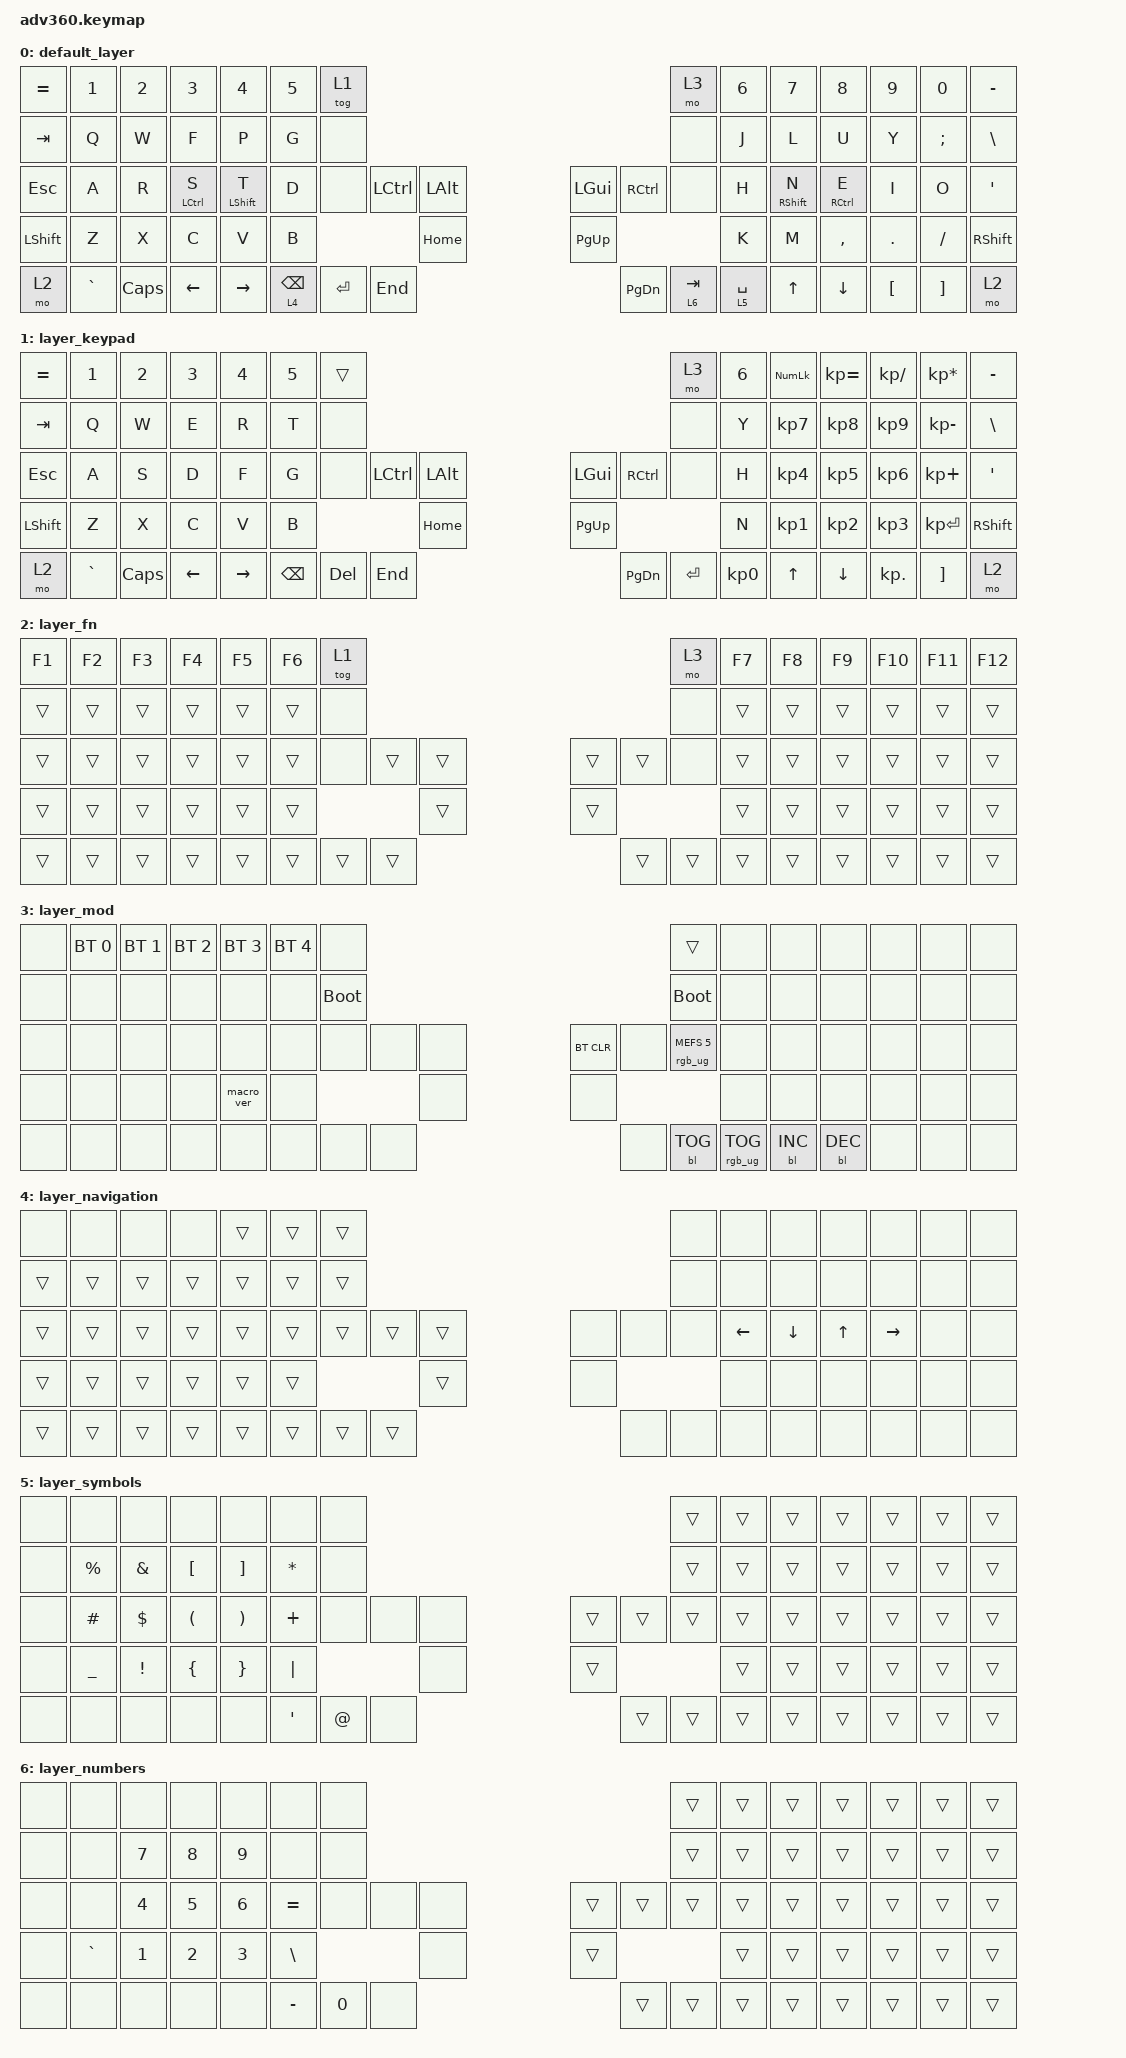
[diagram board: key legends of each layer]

/*
 * Copyright (c) 2020 The ZMK Contributors
 *
 * SPDX-License-Identifier: MIT
 */


/* THIS FILE WAS GENERATED!
 *
 * This file was generated automatically. You may or may not want to
 * edit it directly.
 */

#include <behaviors.dtsi>
#include <dt-bindings/zmk/keys.h>
#include <dt-bindings/zmk/bt.h>
#include <dt-bindings/zmk/rgb.h>
#include <dt-bindings/zmk/backlight.h>

/ {
  behaviors {
    #include "macros.dtsi"
    #include "version.dtsi"

    hm: homerow_mods {
        compatible = "zmk,behavior-hold-tap";
        label = "HOMEROW_MODS";
        #binding-cells = <2>;
        tapping-term-ms = <200>;
        quick_tap_ms = <175>;
        flavor = "tap-preferred";
        bindings = <&kp>, <&kp>;
    };
  };

    keymap {
        compatible = "zmk,keymap";


        default_layer {
            bindings = <
 &kp EQUAL     &kp N1    &kp N2       &kp N3       &kp N4  &kp N5                &tog 1                                                                   &mo 3  &kp N6       &kp N7       &kp N8    &kp N9         &kp N0  &kp MINUS
   &kp TAB      &kp Q     &kp W        &kp F        &kp P   &kp G                 &none                                                                   &none   &kp J        &kp L        &kp U     &kp Y  &kp SEMICOLON   &kp BSLH
   &kp ESC      &kp A     &kp R  &hm LCTRL S  &hm LSHFT T   &kp D                 &none  &kp LCTRL  &kp LALT                   &kp LGUI  &kp RCTRL        &none   &kp H  &hm RSHFT N  &hm RCTRL E     &kp I          &kp O    &kp SQT
 &kp LSHFT      &kp Z     &kp X        &kp C        &kp V   &kp B                                   &kp HOME                  &kp PG_UP                           &kp K        &kp M    &kp COMMA   &kp DOT       &kp FSLH  &kp RSHFT
     &mo 2  &kp GRAVE  &kp CAPS     &kp LEFT    &kp RIGHT                    &lt 4 BSPC  &kp ENTER   &kp END                  &kp PG_DN  &lt 6 TAB  &lt 5 SPACE               &kp UP     &kp DOWN  &kp LBKT       &kp RBKT      &mo 2
            >;
        };

        layer_keypad {
            bindings = <
 &kp EQUAL     &kp N1    &kp N2    &kp N3     &kp N4  &kp N5              &trans                                                                 &mo 3  &kp N6  &kp KP_NUM  &kp KP_EQUAL  &kp KP_DIVIDE  &kp KP_MULTIPLY  &kp MINUS
   &kp TAB      &kp Q     &kp W     &kp E      &kp R   &kp T               &none                                                                 &none   &kp Y   &kp KP_N7     &kp KP_N8      &kp KP_N9     &kp KP_MINUS   &kp BSLH
   &kp ESC      &kp A     &kp S     &kp D      &kp F   &kp G               &none  &kp LCTRL  &kp LALT                   &kp LGUI  &kp RCTRL      &none   &kp H   &kp KP_N4     &kp KP_N5      &kp KP_N6      &kp KP_PLUS    &kp SQT
 &kp LSHFT      &kp Z     &kp X     &kp C      &kp V   &kp B                                 &kp HOME                  &kp PG_UP                         &kp N   &kp KP_N1     &kp KP_N2      &kp KP_N3     &kp KP_ENTER  &kp RSHFT
     &mo 2  &kp GRAVE  &kp CAPS  &kp LEFT  &kp RIGHT                    &kp BSPC    &kp DEL   &kp END                  &kp PG_DN  &kp ENTER  &kp KP_N0              &kp UP      &kp DOWN     &kp KP_DOT         &kp RBKT      &mo 2
            >;
        };

        layer_fn {
            bindings = <
 &kp F1  &kp F2  &kp F3  &kp F4  &kp F5  &kp F6            &tog 1                                                   &mo 3  &kp F7  &kp F8  &kp F9  &kp F10  &kp F11  &kp F12
 &trans  &trans  &trans  &trans  &trans  &trans             &none                                                   &none  &trans  &trans  &trans   &trans   &trans   &trans
 &trans  &trans  &trans  &trans  &trans  &trans             &none  &trans  &trans                  &trans  &trans   &none  &trans  &trans  &trans   &trans   &trans   &trans
 &trans  &trans  &trans  &trans  &trans  &trans                            &trans                  &trans                  &trans  &trans  &trans   &trans   &trans   &trans
 &trans  &trans  &trans  &trans  &trans                    &trans  &trans  &trans                  &trans  &trans  &trans          &trans  &trans   &trans   &trans   &trans
            >;
        };

        layer_mod {
            bindings = <
  &none  &bt BT_SEL 0  &bt BT_SEL 1  &bt BT_SEL 2  &bt BT_SEL 3  &bt BT_SEL 4                  &none                                                                          &trans   &none       &none       &none   &none   &none   &none
  &none         &none         &none         &none         &none         &none            &bootloader                                                                     &bootloader   &none       &none       &none   &none   &none   &none
  &none         &none         &none         &none         &none         &none                  &none   &none   &none                  &bt BT_CLR       &none  &rgb_ug RGB_MEFS_CMD 5   &none       &none       &none   &none   &none   &none
  &none         &none         &none         &none    &macro_ver         &none                                  &none                       &none                                       &none       &none       &none   &none   &none   &none
  &none         &none         &none         &none         &none                                &none   &none   &none                       &none  &bl BL_TOG         &rgb_ug RGB_TOG          &bl BL_INC  &bl BL_DEC   &none   &none   &none
            >;
        };

        layer_navigation {
            bindings = <
  &none   &none   &none   &none  &trans  &trans            &trans                                                   &none     &none     &none   &none      &none   &none   &none
 &trans  &trans  &trans  &trans  &trans  &trans            &trans                                                   &none     &none     &none   &none      &none   &none   &none
 &trans  &trans  &trans  &trans  &trans  &trans            &trans  &trans  &trans                   &none   &none   &none  &kp LEFT  &kp DOWN  &kp UP  &kp RIGHT   &none   &none
 &trans  &trans  &trans  &trans  &trans  &trans                            &trans                   &none                     &none     &none   &none      &none   &none   &none
 &trans  &trans  &trans  &trans  &trans                    &trans  &trans  &trans                   &none   &none   &none               &none   &none      &none   &none   &none
            >;
        };

        layer_symbols {
            bindings = <
  &none           &none            &none                 &none                  &none      &none                       &none                                                  &trans  &trans  &trans  &trans  &trans  &trans  &trans
  &none     &kp PERCENT    &kp AMPERSAND      &kp LEFT_BRACKET      &kp RIGHT_BRACKET  &kp ASTRK                       &none                                                  &trans  &trans  &trans  &trans  &trans  &trans  &trans
  &none        &kp HASH       &kp DOLLAR  &kp LEFT_PARENTHESIS  &kp RIGHT_PARENTHESIS   &kp PLUS                       &none   &none   &none                  &trans  &trans  &trans  &trans  &trans  &trans  &trans  &trans  &trans
  &none  &kp UNDERSCORE  &kp EXCLAMATION        &kp LEFT_BRACE        &kp RIGHT_BRACE   &kp PIPE                                       &none                  &trans                  &trans  &trans  &trans  &trans  &trans  &trans
  &none           &none            &none                 &none                  &none                       &kp SINGLE_QUOTE  &kp AT   &none                  &trans  &trans  &trans          &trans  &trans  &trans  &trans  &trans
            >;
        };

        layer_numbers {
            bindings = <
  &none      &none   &none   &none   &none      &none                &none                                                  &trans  &trans  &trans  &trans  &trans  &trans  &trans
  &none      &none  &kp N7  &kp N8  &kp N9      &none                &none                                                  &trans  &trans  &trans  &trans  &trans  &trans  &trans
  &none      &none  &kp N4  &kp N5  &kp N6  &kp EQUAL                &none   &none   &none                  &trans  &trans  &trans  &trans  &trans  &trans  &trans  &trans  &trans
  &none  &kp GRAVE  &kp N1  &kp N2  &kp N3   &kp BSLH                                &none                  &trans                  &trans  &trans  &trans  &trans  &trans  &trans
  &none      &none   &none   &none   &none                       &kp MINUS  &kp N0   &none                  &trans  &trans  &trans          &trans  &trans  &trans  &trans  &trans
            >;
        };

    };
};
